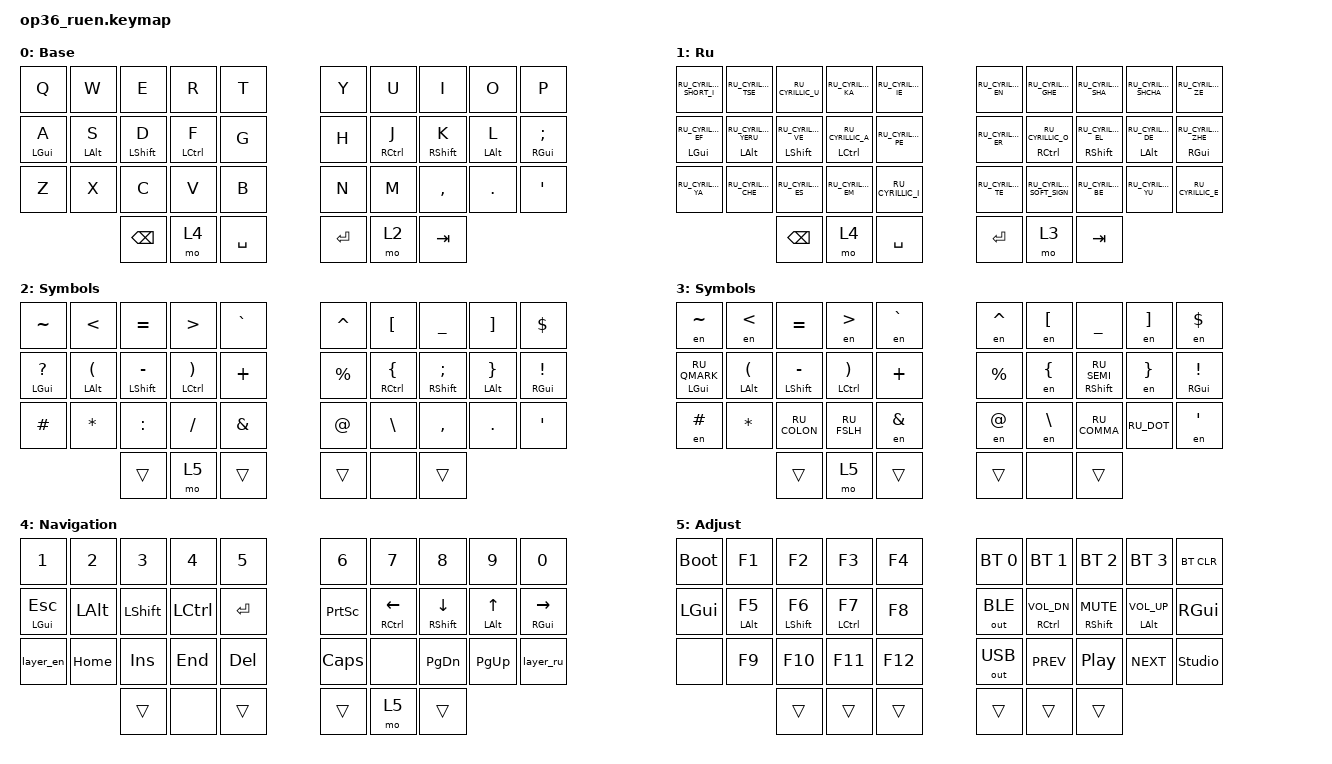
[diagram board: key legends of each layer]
#include "keys_ru.h"
#include "keys_ru.h"
#include <behaviors.dtsi>
#include <dt-bindings/zmk/bt.h>
#include <dt-bindings/zmk/keys.h>
#include <dt-bindings/zmk/outputs.h>

&mt {
    quick-tap-ms = <200>;
    flavor = "tap-preferred";
    require-prior-idle-ms = <125>;
};

/ {
    behaviors {
        hml: home_row_mod_left {
            compatible = "zmk,behavior-hold-tap";
            #binding-cells = <2>;
            flavor = "balanced";
            require-prior-idle-ms = <150>;
            tapping-term-ms = <280>;
            quick-tap-ms = <175>;
            bindings = <&kp>, <&kp>;

            hold-trigger-key-positions = <5 6 7 8 9 15 16 17 18 19 25 26 27 28 29 33 34 35>;
            hold-trigger-on-release;
        };

        hmr: home_row_mod_right {
            compatible = "zmk,behavior-hold-tap";
            #binding-cells = <2>;
            flavor = "balanced";
            require-prior-idle-ms = <150>;
            tapping-term-ms = <280>;
            quick-tap-ms = <175>;
            bindings = <&kp>, <&kp>;

            hold-trigger-key-positions = <0 1 2 3 4 10 11 12 13 14 20 21 22 23 24 30 31 32>;
            hold-trigger-on-release;
        };
    };

    combos {
        compatible = "zmk,combos";

        kha {
            bindings = <&kp RU_CYRILLIC_HA>;
            key-positions = <6 7>;
            layers = <1>;
        };

        hrdsgn {
            bindings = <&kp RU_CYRILLIC_HARD_SIGN>;
            key-positions = <7 8>;
            layers = <1>;
        };

        cmben {
            bindings = <&layer_en>;
            key-positions = <2 3>;
            layers = <1>;
        };

        cmbru {
            bindings = <&layer_ru>;
            key-positions = <2 3>;
            layers = <0>;
        };

        dqten {
            bindings = <&kp DQT>;
            key-positions = <28 29>;
            layers = <2>;
        };

        dqtru {
            bindings = <&kp RU_DQT>;
            key-positions = <28 29>;
            layers = <3>;
        };

        smlpen {
            bindings = <&smile_positive_en>;
            key-positions = <11 12>;
            layers = <2>;
        };

        smlpru {
            bindings = <&smile_positive_ru>;
            key-positions = <11 12>;
            layers = <3>;
        };

        smlnen {
            bindings = <&smile_negative_en>;
            key-positions = <12 13>;
            layers = <2>;
        };

        smlnru {
            bindings = <&smile_negative_ru>;
            key-positions = <12 13>;
            layers = <3>;
        };

        smlden {
            bindings = <&smile_rofl_en>;
            key-positions = <11 12 13>;
            layers = <2>;
        };

        smldru {
            bindings = <&smile_rofl_ru>;
            key-positions = <11 12 13>;
            layers = <3>;
        };
    };

    macros {
        to_ru: to_ru {
            compatible = "zmk,behavior-macro";
            #binding-cells = <0>;
            bindings = <&kp LS(LC(N2))>;
            label = "TO_RU";
        };

        to_en: to_en {
            compatible = "zmk,behavior-macro";
            #binding-cells = <0>;
            bindings = <&kp LS(LC(N1))>;
            label = "TO_EN";
        };

        layer_en: layer_en {
            compatible = "zmk,behavior-macro";
            #binding-cells = <0>;
            bindings = <&to 0 &to_en>;
            label = "LAYER_EN";
        };

        layer_ru: layer_ru {
            compatible = "zmk,behavior-macro";
            #binding-cells = <0>;
            bindings = <&to 1 &to_ru>;
            label = "LAYER_RU";
        };

        en: en {
            compatible = "zmk,behavior-macro-one-param";
            #binding-cells = <1>;
            bindings =
                <&to_en &macro_param_1to1 &kp MACRO_PLACEHOLDER>,
                <&macro_wait_time 10>,
                <&to_ru>,
                <&macro_wait_time 10>;

            label = "EN";
        };

        smile_positive_en: smile_positive_en {
            compatible = "zmk,behavior-macro";
            #binding-cells = <0>;
            bindings = <&kp LPAR &kp MINUS &kp COLON>;
            label = "SMILE_POSITIVE_EN";
        };

        smile_positive_ru: smile_positive_ru {
            compatible = "zmk,behavior-macro";
            #binding-cells = <0>;
            bindings = <&kp RU_LPAR &kp RU_MINUS &kp RU_COLON>;
            label = "SMILE_POSITIVE_RU";
        };

        smile_negative_en: smile_negative_en {
            compatible = "zmk,behavior-macro";
            #binding-cells = <0>;
            bindings = <&kp RPAR &kp MINUS &kp COLON>;
            label = "SMILE_NEGATIVE_EN";
        };

        smile_negative_ru: smile_negative_ru {
            compatible = "zmk,behavior-macro";
            #binding-cells = <0>;
            bindings = <&kp RU_RPAR &kp RU_MINUS &kp RU_COLON>;
            label = "SMILE_NEGATIVE_RU";
        };

        smile_rofl_en: smile_rofl_en {
            compatible = "zmk,behavior-macro";
            #binding-cells = <0>;
            bindings = <&kp COLON &kp LS(D)>;
            label = "SMILE_ROFL_EN";
        };

        smile_rofl_ru: smile_rofl_ru {
            compatible = "zmk,behavior-macro";
            #binding-cells = <0>;
            bindings = <&kp RU_COLON &en LS(D)>;
            label = "SMILE_ROFL_RU";
        };
    };

    keymap {
        compatible = "zmk,keymap";

        en {
            bindings = <
  &kp Q        &kp W        &kp E         &kp R          &kp T                          &kp Y  &kp U         &kp I         &kp O        &kp P
  &hml LGUI A  &hml LALT S  &hml LSHFT D  &hml LCTRL F   &kp G                          &kp H  &hmr RCTRL J  &hmr RSHFT K  &hmr LALT L  &hmr RGUI SEMICOLON
  &kp Z        &kp X        &kp C         &kp V          &kp B                          &kp N  &kp M         &kp COMMA     &kp DOT      &kp SQT
                                          &kp BACKSPACE  &mo 4  &kp SPACE    &kp ENTER  &mo 2  &kp TAB
            >;

            display-name = "Base";
        };

        ru {
            bindings = <
  &kp RU_CYRILLIC_SHORT_I   &kp RU_CYRILLIC_TSE         &kp RU_CYRILLIC_U          &kp RU_CYRILLIC_KA        &kp RU_CYRILLIC_IE                          &kp RU_CYRILLIC_EN  &kp RU_CYRILLIC_GHE        &kp RU_CYRILLIC_SHA        &kp RU_CYRILLIC_SHCHA     &kp RU_CYRILLIC_ZE
  &hml LGUI RU_CYRILLIC_EF  &hml LALT RU_CYRILLIC_YERU  &hml LSHFT RU_CYRILLIC_VE  &hml LCTRL RU_CYRILLIC_A  &kp RU_CYRILLIC_PE                          &kp RU_CYRILLIC_ER  &hmr RCTRL RU_CYRILLIC_O   &hmr RSHFT RU_CYRILLIC_EL  &hmr LALT RU_CYRILLIC_DE  &hmr RGUI RU_CYRILLIC_ZHE
  &kp RU_CYRILLIC_YA        &kp RU_CYRILLIC_CHE         &kp RU_CYRILLIC_ES         &kp RU_CYRILLIC_EM        &kp RU_CYRILLIC_I                           &kp RU_CYRILLIC_TE  &kp RU_CYRILLIC_SOFT_SIGN  &kp RU_CYRILLIC_BE         &kp RU_CYRILLIC_YU        &kp RU_CYRILLIC_E
                                                                                   &kp BACKSPACE             &mo 4               &kp SPACE    &kp ENTER  &mo 3               &kp TAB
            >;

            display-name = "Ru";
        };

        sym_en {
            bindings = <
  &kp TILDE        &kp LT          &kp EQUAL         &kp GT           &kp GRAVE                    &kp CARET  &kp LBKT         &kp UNDER        &kp RBKT        &kp DLLR
  &hml LGUI QMARK  &hml LALT LPAR  &hml LSHFT MINUS  &hml LCTRL RPAR  &kp PLUS                     &kp PRCNT  &hmr RCTRL LBRC  &hmr RSHFT SEMI  &hmr LALT RBRC  &hmr RGUI EXCL
  &kp HASH         &kp STAR        &kp COLON         &kp FSLH         &kp AMPS                     &kp AT     &kp BSLH         &kp COMMA        &kp DOT         &kp SQT
                                                     &trans           &mo 5      &trans    &trans  &none      &trans
            >;

            display-name = "Symbols";
        };

        sym_ru {
            bindings = <
  &en TILDE           &en LT          &kp EQUAL         &en GT           &en GRAVE                    &en CARET  &en LBKT  &kp UNDER           &en RBKT    &en DLLR
  &hml LGUI RU_QMARK  &hml LALT LPAR  &hml LSHFT MINUS  &hml LCTRL RPAR  &kp PLUS                     &kp PRCNT  &en LBRC  &hmr RSHFT RU_SEMI  &en RBRC    &hmr RGUI EXCL
  &en HASH            &kp STAR        &kp RU_COLON      &kp RU_FSLH      &en AMPS                     &en AT     &en BSLH  &kp RU_COMMA        &kp RU_DOT  &en SQT
                                                        &trans           &mo 5      &trans    &trans  &none      &trans
            >;

            display-name = "Symbols";
        };

        nav {
            bindings = <
  &kp N1         &kp N2    &kp N3     &kp N4     &kp N5                        &kp N6           &kp N7           &kp N8           &kp N9        &kp N0
  &hml LGUI ESC  &kp LALT  &kp LSHFT  &kp LCTRL  &kp ENTER                     &kp PRINTSCREEN  &hmr RCTRL LEFT  &hmr RSHFT DOWN  &hmr LALT UP  &hmr RGUI RIGHT
  &layer_en      &kp HOME  &kp INS    &kp END    &kp DELETE                    &kp CAPS         &none            &kp PG_DN        &kp PG_UP     &layer_ru
                                      &trans     &none       &trans    &trans  &mo 5            &trans
            >;

            display-name = "Navigation";
        };

        adj {
            bindings = <
  &bootloader  &kp F1        &kp F2         &kp F3         &kp F4                     &bt BT_SEL 0  &bt BT_SEL 1         &bt BT_SEL 2       &bt BT_SEL 3        &bt BT_CLR
  &kp LGUI     &hml LALT F5  &hml LSHFT F6  &hml LCTRL F7  &kp F8                     &out OUT_BLE  &hmr RCTRL C_VOL_DN  &hmr RSHFT C_MUTE  &hmr LALT C_VOL_UP  &kp RGUI
  &none        &kp F9        &kp F10        &kp F11        &kp F12                    &out OUT_USB  &kp C_PREV           &kp C_PP           &kp C_NEXT          &studio_unlock
                                            &trans         &trans   &trans    &trans  &trans        &trans
            >;

            display-name = "Adjust";
        };
    };
};
